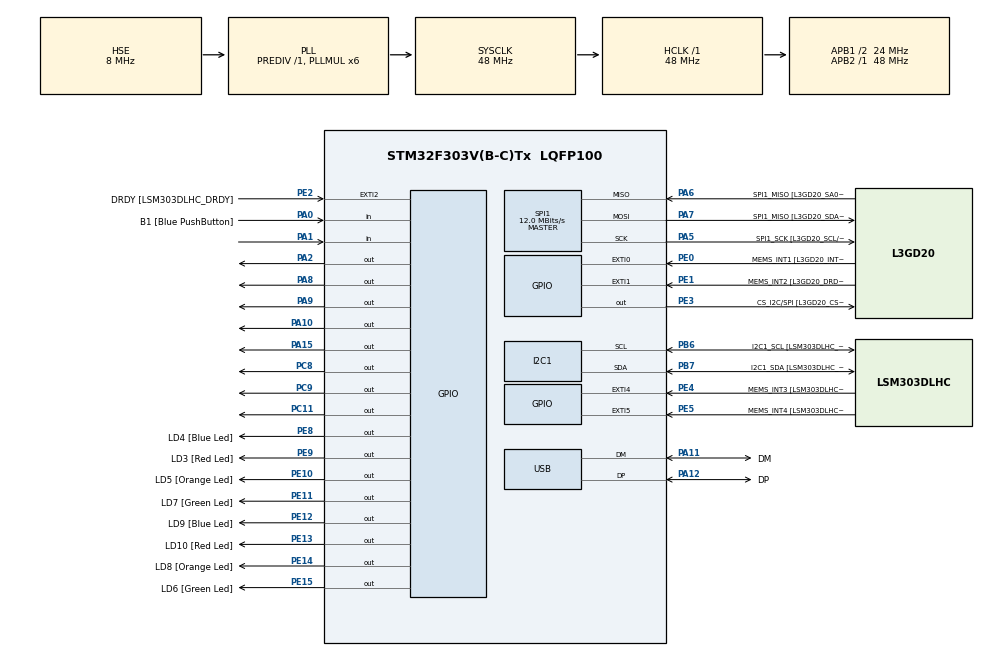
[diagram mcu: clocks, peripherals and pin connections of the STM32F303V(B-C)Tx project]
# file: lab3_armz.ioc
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I2C1.Timing=0x2000090E
I2C1.Timing-I2C=0x2000090E
Mcu.Family=STM32F3
Mcu.Name=STM32F303V(B-C)Tx
Mcu.Package=LQFP100
NVIC.PriorityGroup=NVIC_PRIORITYGROUP_0
PA0.GPIO_Label=B1 [Blue PushButton]
PA0.Signal=GPIO_Input
PA1.Signal=GPIO_Input
PA10.Signal=GPIO_Output
PA11.GPIO_Label=DM
PA11.Mode=Device
PA11.Signal=USB_DM
PA12.GPIO_Label=DP
PA12.Mode=Device
PA12.Signal=USB_DP
PA13.GPIO_Label=SWDIO
PA13.Mode=Serial_Wire
PA13.Signal=SYS_JTMS-SWDIO
PA14.GPIO_Label=SWCLK
PA14.Mode=Serial_Wire
PA14.Signal=SYS_JTCK-SWCLK
PA15.Signal=GPIO_Output
PA2.Signal=GPIO_Output
PA5.GPIO_Label=SPI1_SCK [L3GD20_SCL/SPC]
PA5.Mode=Full_Duplex_Master
PA5.Signal=SPI1_SCK
PA6.GPIO_Label=SPI1_MISO [L3GD20_SA0/SDO]
PA6.Mode=Full_Duplex_Master
PA6.Signal=SPI1_MISO
PA7.GPIO_Label=SPI1_MISO [L3GD20_SDA/SDI/SDO]
PA7.Mode=Full_Duplex_Master
PA7.Signal=SPI1_MOSI
PA8.Signal=GPIO_Output
PA9.Signal=GPIO_Output
PB3.GPIO_Label=SWO
PB3.Signal=SYS_JTDO-TRACESWO
PB6.GPIO_Label=I2C1_SCL [LSM303DLHC_SCL]
PB6.GPIO_Pu=GPIO_PULLUP
PB6.Mode=I2C
PB6.Signal=I2C1_SCL
PB7.GPIO_Label=I2C1_SDA [LSM303DLHC_SDA]
PB7.GPIO_Pu=GPIO_PULLUP
PB7.Mode=I2C
PB7.Signal=I2C1_SDA
PC11.Signal=GPIO_Output
PC14-OSC32_IN.GPIO_Label=OSC32_IN
PC14-OSC32_IN.Signal=RCC_OSC32_IN
PC15-OSC32_OUT.GPIO_Label=OSC32_OUT
PC15-OSC32_OUT.Signal=RCC_OSC32_OUT
PC8.Signal=GPIO_Output
PC9.Signal=GPIO_Output
PE0.GPIO_Label=MEMS_INT1 [L3GD20_INT1]
PE0.GPIO_ModeDefaultEXTI=GPIO_MODE_EVT_RISING
PE0.Signal=GPXTI0
PE1.GPIO_Label=MEMS_INT2 [L3GD20_DRDY/INT2]
PE1.GPIO_ModeDefaultEXTI=GPIO_MODE_EVT_RISING
PE1.Signal=GPXTI1
PE10.GPIO_Label=LD5 [Orange Led]
PE10.Signal=GPIO_Output
PE11.GPIO_Label=LD7 [Green Led]
PE11.Signal=GPIO_Output
PE12.GPIO_Label=LD9 [Blue Led]
PE12.Signal=GPIO_Output
PE13.GPIO_Label=LD10 [Red Led]
PE13.Signal=GPIO_Output
PE14.GPIO_Label=LD8 [Orange Led]
PE14.Signal=GPIO_Output
PE15.GPIO_Label=LD6 [Green Led]
PE15.Signal=GPIO_Output
PE2.GPIO_Label=DRDY [LSM303DLHC_DRDY]
PE2.GPIO_ModeDefaultEXTI=GPIO_MODE_EVT_RISING
PE2.Signal=GPXTI2
PE3.GPIO_Label=CS_I2C/SPI [L3GD20_CS_I2C/SPI]
PE3.Signal=GPIO_Output
PE4.GPIO_Label=MEMS_INT3 [LSM303DLHC_INT1]
PE4.GPIO_ModeDefaultEXTI=GPIO_MODE_EVT_RISING
PE4.Signal=GPXTI4
PE5.GPIO_Label=MEMS_INT4 [LSM303DLHC_INT2]
PE5.GPIO_ModeDefaultEXTI=GPIO_MODE_EVT_RISING
PE5.Signal=GPXTI5
PE8.GPIO_Label=LD4 [Blue Led]
PE8.Signal=GPIO_Output
PE9.GPIO_Label=LD3 [Red Led]
PE9.Signal=GPIO_Output
PF0-OSC_IN.GPIO_Label=OSC_IN
PF0-OSC_IN.Mode=HSE-External-Clock-Source
PF0-OSC_IN.Signal=RCC_OSC_IN
PF1-OSC_OUT.GPIO_Label=OSC_OUT
PF1-OSC_OUT.Signal=RCC_OSC_OUT
ProjectManager.HeapSize=0x200
ProjectManager.StackSize=0x400
ProjectManager.TargetToolchain=CMake
RCC.AHBFreq_Value=48000000
RCC.APB1CLKDivider=RCC_HCLK_DIV2
RCC.APB1Freq_Value=24000000
RCC.APB1TimFreq_Value=48000000
RCC.APB2Freq_Value=48000000
RCC.APB2TimFreq_Value=48000000
RCC.CortexFreq_Value=48000000
RCC.HCLKFreq_Value=48000000
RCC.HSE_VALUE=8000000
RCC.HSI_VALUE=8000000
RCC.LSE_VALUE=32768
RCC.PLLMUL=RCC_PLL_MUL6
RCC.SYSCLKFreq_VALUE=48000000
RCC.SYSCLKSourceVirtual=RCC_SYSCLKSOURCE_PLLCLK
RCC.USBFreq_Value=48000000
SPI1.BaudRatePrescaler=SPI_BAUDRATEPRESCALER_4
SPI1.BaudRatePrescaler-Full_Duplex_Master=SPI_BAUDRATEPRESCALER_2
SPI1.CalculateBaudRate=12.0 MBits/s
SPI1.CalculateBaudRate-Full_Duplex_Master=24.0 MBits/s
SPI1.Direction=SPI_DIRECTION_2LINES
SPI1.Mode=SPI_MODE_MASTER
SPI1.Mode-Full_Duplex_Master=SPI_MODE_MASTER
SPI1.VirtualType=VM_MASTER
board=STM32F3DISCOVERY

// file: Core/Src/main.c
/* USER CODE BEGIN Header */
/**
  ******************************************************************************
  * @file           : main.c
  * @brief          : Main program body
  ******************************************************************************
  * @attention
  *
  * Copyright (c) 2026 STMicroelectronics.
  * All rights reserved.
  *
  * This software is licensed under terms that can be found in the LICENSE file
  * in the root directory of this software component.
  * If no LICENSE file comes with this software, it is provided AS-IS.
  *
  ******************************************************************************
  */
/* USER CODE END Header */
#include "main.h"
#include "stm32f3xx_hal.h"
#include "stm32f3xx_hal_gpio.h"
#include "stdlib.h"

I2C_HandleTypeDef hi2c1;

SPI_HandleTypeDef hspi1;

PCD_HandleTypeDef hpcd_USB_FS;

void SystemClock_Config(void);
static void MX_GPIO_Init(void);
static void MX_I2C1_Init(void);
static void MX_SPI1_Init(void);
static void MX_USB_PCD_Init(void);

/* USER CODE BEGIN 0 */
uint8_t hexMap[16] = {
      0x3F, // 0
      0x06, // 1
      0x5B, // 2
      0x4F, // 3
      0x66, // 4
      0x6D, // 5
      0x7D, // 6
      0x07, // 7
      0x7F, // 8
      0x6F, // 9
      0x77, // A
      0x7C, // b
      0x39, // C
      0x5E, // d
      0x79, // E
      0x71  // F
  };
void displayNumber(uint8_t num)
{
    uint8_t seg = hexMap[num];

    HAL_GPIO_WritePin(GPIOA, GPIO_PIN_10, !(seg & 0x01)); // a
    HAL_GPIO_WritePin(GPIOA, GPIO_PIN_9,  !(seg & 0x02)); // b
    HAL_GPIO_WritePin(GPIOA, GPIO_PIN_8,  !(seg & 0x04)); // c
    HAL_GPIO_WritePin(GPIOC, GPIO_PIN_9,  !(seg & 0x08)); // d
    HAL_GPIO_WritePin(GPIOC, GPIO_PIN_8,  !(seg & 0x10)); // e
    HAL_GPIO_WritePin(GPIOC, GPIO_PIN_11, !(seg & 0x20)); // f
    HAL_GPIO_WritePin(GPIOA, GPIO_PIN_15, !(seg & 0x40)); // g
}
/* USER CODE END 0 */

int main(void)
{

  /* MCU Configuration--------------------------------------------------------*/

  /* Reset of all peripherals, Initializes the Flash interface and the Systick. */

  HAL_Init();

  /* Configure the system clock */
  SystemClock_Config();

  /* Initialize all configured peripherals */
  MX_GPIO_Init();
  MX_I2C1_Init();
  MX_SPI1_Init();
  MX_USB_PCD_Init();

  /* Infinite loop */
  /* USER CODE BEGIN WHILE */

  // uint8_t i;
  // uint8_t studentID[] = {1, 0, 2, 2, 9};
  // uint8_t idLength = 5;
  // uint8_t index = 0;
  int counter = 5;
  while (1){
    //task1
    // for (i = 0; i < 16; i++){
    //     displayNumber(i);
    //     HAL_Delay(2000);   // 2-second delay
    //   }
    //task2
    // if (HAL_GPIO_ReadPin(GPIOA, GPIO_PIN_0) == GPIO_PIN_SET)
    // {
    //     displayNumber(studentID[index]);

    //     index++;
    //     if (index >= idLength)
    //         index = 0;

    //     HAL_Delay(300);

    //     while (HAL_GPIO_ReadPin(GPIOA, GPIO_PIN_0) == GPIO_PIN_SET);
    // }

    //Task3
    // if(HAL_GPIO_ReadPin(GPIOA, GPIO_PIN_0) == GPIO_PIN_SET || HAL_GPIO_ReadPin(GPIOB, GPIO_PIN_5) == GPIO_PIN_SET){
    //   if (HAL_GPIO_ReadPin(GPIOA, GPIO_PIN_0) == GPIO_PIN_SET){
    //     counter++;
    //   }
    //   if (HAL_GPIO_ReadPin(GPIOB, GPIO_PIN_5) == GPIO_PIN_SET){
    //     counter--;
    //   }
    //   if(counter > 15 || counter < 0){counter = 5;}
    //   displayNumber(counter);
    //   while(HAL_GPIO_ReadPin(GPIOA, GPIO_PIN_0) == GPIO_PIN_SET)
    //   {};
    // }

    //Task4
    // if  (HAL_GPIO_ReadPin(GPIOA, GPIO_PIN_0)==GPIO_PIN_SET){
    //   int random_value = (rand()%6)+1;
    //   displayNumber(random_value);
    //   HAL_Delay(200);

    // while (HAL_GPIO_ReadPin(GPIOA, GPIO_PIN_0)==GPIO_PIN_SET);
    // }
}
}

void SystemClock_Config(void)
{
  RCC_OscInitTypeDef RCC_OscInitStruct = {0};
  RCC_ClkInitTypeDef RCC_ClkInitStruct = {0};
  RCC_PeriphCLKInitTypeDef PeriphClkInit = {0};

  /** Initializes the RCC Oscillators according to the specified parameters
  * in the RCC_OscInitTypeDef structure.
  */
  RCC_OscInitStruct.OscillatorType = RCC_OSCILLATORTYPE_HSI|RCC_OSCILLATORTYPE_HSE;
  RCC_OscInitStruct.HSEState = RCC_HSE_BYPASS;
  RCC_OscInitStruct.HSEPredivValue = RCC_HSE_PREDIV_DIV1;
  RCC_OscInitStruct.HSIState = RCC_HSI_ON;
  RCC_OscInitStruct.HSICalibrationValue = RCC_HSICALIBRATION_DEFAULT;
  RCC_OscInitStruct.PLL.PLLState = RCC_PLL_ON;
  RCC_OscInitStruct.PLL.PLLSource = RCC_PLLSOURCE_HSE;
  RCC_OscInitStruct.PLL.PLLMUL = RCC_PLL_MUL6;
  if (HAL_RCC_OscConfig(&RCC_OscInitStruct) != HAL_OK)
  {
    Error_Handler();
  }

  /** Initializes the CPU, AHB and APB buses clocks
  */
  RCC_ClkInitStruct.ClockType = RCC_CLOCKTYPE_HCLK|RCC_CLOCKTYPE_SYSCLK
                              |RCC_CLOCKTYPE_PCLK1|RCC_CLOCKTYPE_PCLK2;
  RCC_ClkInitStruct.SYSCLKSource = RCC_SYSCLKSOURCE_PLLCLK;
  RCC_ClkInitStruct.AHBCLKDivider = RCC_SYSCLK_DIV1;
  RCC_ClkInitStruct.APB1CLKDivider = RCC_HCLK_DIV2;
  RCC_ClkInitStruct.APB2CLKDivider = RCC_HCLK_DIV1;

  if (HAL_RCC_ClockConfig(&RCC_ClkInitStruct, FLASH_LATENCY_1) != HAL_OK)
  {
    Error_Handler();
  }
  PeriphClkInit.PeriphClockSelection = RCC_PERIPHCLK_USB|RCC_PERIPHCLK_I2C1;
  PeriphClkInit.I2c1ClockSelection = RCC_I2C1CLKSOURCE_HSI;
  PeriphClkInit.USBClockSelection = RCC_USBCLKSOURCE_PLL;
  if (HAL_RCCEx_PeriphCLKConfig(&PeriphClkInit) != HAL_OK)
  {
    Error_Handler();
  }
}

static void MX_I2C1_Init(void)
{

  hi2c1.Instance = I2C1;
  hi2c1.Init.Timing = 0x2000090E;
  hi2c1.Init.OwnAddress1 = 0;
  hi2c1.Init.AddressingMode = I2C_ADDRESSINGMODE_7BIT;
  hi2c1.Init.DualAddressMode = I2C_DUALADDRESS_DISABLE;
  hi2c1.Init.OwnAddress2 = 0;
  hi2c1.Init.OwnAddress2Masks = I2C_OA2_NOMASK;
  hi2c1.Init.GeneralCallMode = I2C_GENERALCALL_DISABLE;
  hi2c1.Init.NoStretchMode = I2C_NOSTRETCH_DISABLE;
  if (HAL_I2C_Init(&hi2c1) != HAL_OK)
  {
    Error_Handler();
  }

  /** Configure Analogue filter
  */
  if (HAL_I2CEx_ConfigAnalogFilter(&hi2c1, I2C_ANALOGFILTER_ENABLE) != HAL_OK)
  {
    Error_Handler();
  }

  /** Configure Digital filter
  */
  if (HAL_I2CEx_ConfigDigitalFilter(&hi2c1, 0) != HAL_OK)
  {
    Error_Handler();
  }

}

static void MX_SPI1_Init(void)
{

  /* SPI1 parameter configuration*/
  hspi1.Instance = SPI1;
  hspi1.Init.Mode = SPI_MODE_MASTER;
  hspi1.Init.Direction = SPI_DIRECTION_2LINES;
  hspi1.Init.DataSize = SPI_DATASIZE_4BIT;
  hspi1.Init.CLKPolarity = SPI_POLARITY_LOW;
  hspi1.Init.CLKPhase = SPI_PHASE_1EDGE;
  hspi1.Init.NSS = SPI_NSS_SOFT;
  hspi1.Init.BaudRatePrescaler = SPI_BAUDRATEPRESCALER_4;
  hspi1.Init.FirstBit = SPI_FIRSTBIT_MSB;
  hspi1.Init.TIMode = SPI_TIMODE_DISABLE;
  hspi1.Init.CRCCalculation = SPI_CRCCALCULATION_DISABLE;
  hspi1.Init.CRCPolynomial = 7;
  hspi1.Init.CRCLength = SPI_CRC_LENGTH_DATASIZE;
  hspi1.Init.NSSPMode = SPI_NSS_PULSE_ENABLE;
  if (HAL_SPI_Init(&hspi1) != HAL_OK)
  {
    Error_Handler();
  }

}

static void MX_USB_PCD_Init(void)
{

  hpcd_USB_FS.Instance = USB;
  hpcd_USB_FS.Init.dev_endpoints = 8;
  hpcd_USB_FS.Init.speed = PCD_SPEED_FULL;
  hpcd_USB_FS.Init.phy_itface = PCD_PHY_EMBEDDED;
  hpcd_USB_FS.Init.low_power_enable = DISABLE;
  hpcd_USB_FS.Init.battery_charging_enable = DISABLE;
  if (HAL_PCD_Init(&hpcd_USB_FS) != HAL_OK)
  {
    Error_Handler();
  }

}

static void MX_GPIO_Init(void)
{
  GPIO_InitTypeDef GPIO_InitStruct = {0};

  /* GPIO Ports Clock Enable */
    //     dis
  __HAL_RCC_GPIOE_CLK_ENABLE();
  __HAL_RCC_GPIOC_CLK_ENABLE();
  __HAL_RCC_GPIOF_CLK_ENABLE();
  __HAL_RCC_GPIOA_CLK_ENABLE();
  __HAL_RCC_GPIOB_CLK_ENABLE();

  /*Configure GPIO pin Output Level */
  HAL_GPIO_WritePin(GPIOE, CS_I2C_SPI_Pin|LD4_Pin|LD3_Pin|LD5_Pin
                          |LD7_Pin|LD9_Pin|LD10_Pin|LD8_Pin
                          |LD6_Pin, GPIO_PIN_RESET);

  /*Configure GPIO pin Output Level */
  HAL_GPIO_WritePin(GPIOA, GPIO_PIN_2|GPIO_PIN_8|GPIO_PIN_9|GPIO_PIN_10
                          |GPIO_PIN_15, GPIO_PIN_RESET);

  /*Configure GPIO pin Output Level */
  HAL_GPIO_WritePin(GPIOC, GPIO_PIN_8|GPIO_PIN_9|GPIO_PIN_11, GPIO_PIN_RESET);

  /*Configure GPIO pins : DRDY_Pin MEMS_INT3_Pin MEMS_INT4_Pin MEMS_INT1_Pin
                           MEMS_INT2_Pin */
  GPIO_InitStruct.Pin = DRDY_Pin|MEMS_INT3_Pin|MEMS_INT4_Pin|MEMS_INT1_Pin
                          |MEMS_INT2_Pin;
  GPIO_InitStruct.Mode = GPIO_MODE_EVT_RISING;
  GPIO_InitStruct.Pull = GPIO_NOPULL;
  HAL_GPIO_Init(GPIOE, &GPIO_InitStruct);

  /*Configure GPIO pins : CS_I2C_SPI_Pin LD4_Pin LD3_Pin LD5_Pin
                           LD7_Pin LD9_Pin LD10_Pin LD8_Pin
                           LD6_Pin */
  GPIO_InitStruct.Pin = CS_I2C_SPI_Pin|LD4_Pin|LD3_Pin|LD5_Pin
                          |LD7_Pin|LD9_Pin|LD10_Pin|LD8_Pin
                          |LD6_Pin;
  GPIO_InitStruct.Mode = GPIO_MODE_OUTPUT_PP;
  GPIO_InitStruct.Pull = GPIO_NOPULL;
  GPIO_InitStruct.Speed = GPIO_SPEED_FREQ_LOW;
  HAL_GPIO_Init(GPIOE, &GPIO_InitStruct);

  /*Configure GPIO pins : B1_Pin PA1 */
  GPIO_InitStruct.Pin = B1_Pin|GPIO_PIN_1;
  GPIO_InitStruct.Mode = GPIO_MODE_INPUT;
  GPIO_InitStruct.Pull = GPIO_NOPULL;
  HAL_GPIO_Init(GPIOA, &GPIO_InitStruct);

  /*Configure GPIO pins : PA2 PA8 PA9 PA10
                           PA15 */
  GPIO_InitStruct.Pin = GPIO_PIN_2|GPIO_PIN_8|GPIO_PIN_9|GPIO_PIN_10
                          |GPIO_PIN_15;
  GPIO_InitStruct.Mode = GPIO_MODE_OUTPUT_PP;
  GPIO_InitStruct.Pull = GPIO_NOPULL;
  GPIO_InitStruct.Speed = GPIO_SPEED_FREQ_LOW;
  HAL_GPIO_Init(GPIOA, &GPIO_InitStruct);

  /*Configure GPIO pins : PC8 PC9 PC11 */
  GPIO_InitStruct.Pin = GPIO_PIN_8|GPIO_PIN_9|GPIO_PIN_11;
  GPIO_InitStruct.Mode = GPIO_MODE_OUTPUT_PP;
  GPIO_InitStruct.Pull = GPIO_NOPULL;
  GPIO_InitStruct.Speed = GPIO_SPEED_FREQ_LOW;
  HAL_GPIO_Init(GPIOC, &GPIO_InitStruct);

}

void Error_Handler(void)
{
  __disable_irq();
  while (1)
  {
  }
}
